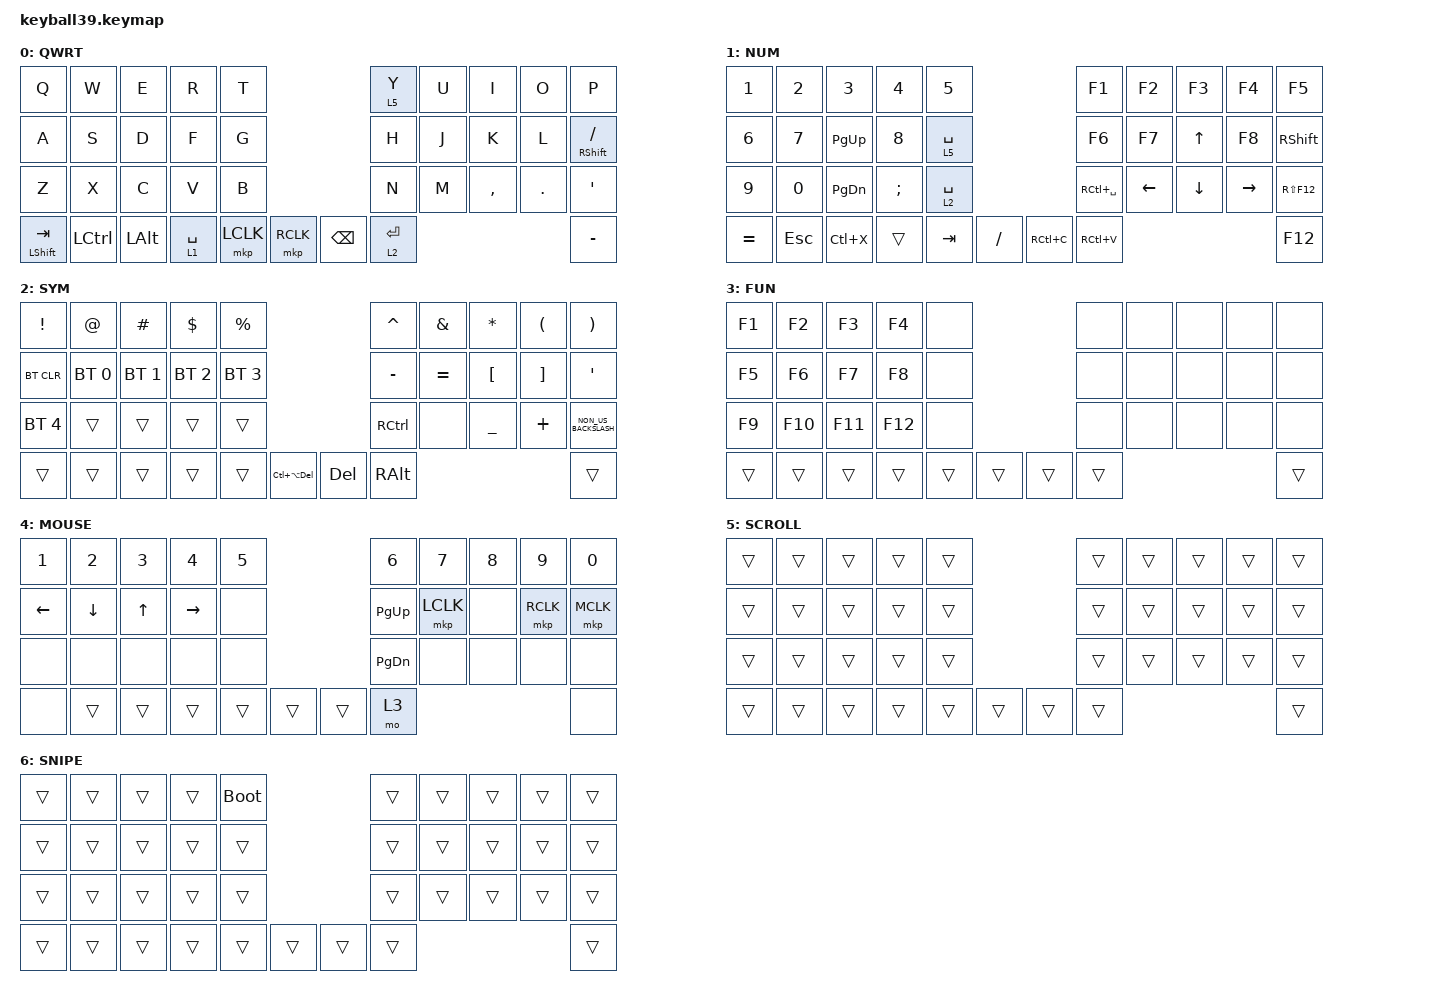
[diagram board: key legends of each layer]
#define DEFAULT 0
#define NUM     1
#define SYM     2
#define FUN     3
#define MOUSE   4
#define SCROLL  5
#define SNIPE   6

#include <behaviors/mouse_keys.dtsi>
#include <dt-bindings/zmk/mouse.h>
#include <behaviors.dtsi>
#include <dt-bindings/zmk/bt.h>
#include <dt-bindings/zmk/keys.h>
#include <dt-bindings/zmk/pointing.h>

&nice_view_spi { cs-gpios = <&pro_micro 1 GPIO_ACTIVE_HIGH>; };

&lt {
    tapping-term-ms = <240>;
    flavor = "balanced";
    quick-tap-ms = <150>;
};

&mt {
    tapping-term-ms = <200>;
    flavor = "tap-preferred";
    quick-tap-ms = <150>;
};

&caps_word { continue-list = <UNDERSCORE MINUS>; };

/ {
    // custom shift using mod-morph 

    behaviors {
        cmqus: comma_question {
            compatible = "zmk,behavior-mod-morph";
            label = "COMMA_QUESTION";
            #binding-cells = <0>;
            bindings = <&kp COMMA>, <&kp QUESTION>;

            mods = <(MOD_LSFT|MOD_RSFT)>;
        };

        dtsmi: dot_semi {
            compatible = "zmk,behavior-mod-morph";
            label = "DOT_SEMI";
            #binding-cells = <0>;
            bindings = <&kp DOT>, <&kp SEMI>;

            mods = <(MOD_LSFT|MOD_RSFT)>;
        };
    };

    macros {
        Hiragana: Hiragana {
            compatible = "zmk,behavior-macro";
            #binding-cells = <0>;
            bindings = <&kp LC(SPACE)>;
            label = "HIRAGANA";
        };
    };

    keymap {
        compatible = "zmk,keymap";

        default_layer {
            label = "QWRT";
            bindings = <
&kp Q               &kp W             &kp E     &kp R        &kp T                                &lt 5 Y       &kp U  &kp I      &kp O    &kp P
&kp A               &kp S             &kp D     &kp F        &kp G                                &kp H         &kp J  &kp K      &kp L    &mt RIGHT_SHIFT SLASH
&kp Z               &kp X             &kp C     &kp V        &kp B                                &kp N         &kp M  &kp COMMA  &kp DOT  &kp APOS
&mt LEFT_SHIFT TAB  &kp LEFT_CONTROL  &kp LALT  &lt 1 SPACE  &mkp LCLK  &mkp RCLK  &kp BACKSPACE  &lt 2 RETURN                             &kp MINUS
            >;
        };

        number_layer {
            label = "NUM";
            bindings = <
&kp NUMBER_1  &kp NUMBER_2  &kp NUMBER_3   &kp NUMBER_4  &kp NUMBER_5                        &kp F1         &kp F2          &kp F3          &kp F4           &kp F5
&kp NUMBER_6  &kp NUMBER_7  &kp PAGE_UP    &kp NUMBER_8  &lt 5 SPACE                         &kp F6         &kp F7          &kp UP_ARROW    &kp F8           &kp RIGHT_SHIFT
&kp NUMBER_9  &kp NUMBER_0  &kp PAGE_DOWN  &kp SEMI      &lt 2 SPACE                         &kp RC(SPACE)  &kp LEFT_ARROW  &kp DOWN_ARROW  &kp RIGHT_ARROW  &kp RS(F12)
&kp EQUAL     &kp ESCAPE    &kp LC(X)      &trans        &kp TAB       &kp SLASH  &kp RC(C)  &kp RC(V)                                                       &kp F12
            >;
        };

        symbol_layer {
            label = "SYM";
            bindings = <
&kp EXCLAMATION  &kp AT_SIGN   &kp HASH      &kp DOLLAR    &kp PERCENT                                &kp CARET          &kp AMPERSAND  &kp ASTERISK      &kp LEFT_PARENTHESIS  &kp RIGHT_PARENTHESIS
&bt BT_CLR       &bt BT_SEL 0  &bt BT_SEL 1  &bt BT_SEL 2  &bt BT_SEL 3                               &kp MINUS          &kp EQUAL      &kp LEFT_BRACKET  &kp RIGHT_BRACKET     &kp SQT
&bt BT_SEL 4     &trans        &trans        &trans        &trans                                     &kp RIGHT_CONTROL  &none          &kp UNDERSCORE    &kp PLUS              &kp NON_US_BACKSLASH
&trans           &trans        &trans        &trans        &trans        &kp LC(LA(DEL))  &kp DELETE  &kp RIGHT_ALT                                                             &trans
            >;
        };

        function_layer {
            label = "FUN";
            bindings = <
&kp F1  &kp F2   &kp F3   &kp F4   &none                   &none   &none  &none  &none  &none
&kp F5  &kp F6   &kp F7   &kp F8   &none                   &none   &none  &none  &none  &none
&kp F9  &kp F10  &kp F11  &kp F12  &none                   &none   &none  &none  &none  &none
&trans  &trans   &trans   &trans   &trans  &trans  &trans  &trans                       &trans
            >;
        };

        mouse_layer {
            label = "MOUSE";
            bindings = <
&kp N1          &kp N2          &kp N3        &kp N4     &kp N5                  &kp N6         &kp N7     &kp N8  &kp N9     &kp N0
&kp LEFT_ARROW  &kp DOWN_ARROW  &kp UP_ARROW  &kp RIGHT  &none                   &kp PAGE_UP    &mkp LCLK  &none   &mkp RCLK  &mkp MCLK
&none           &none           &none         &none      &none                   &kp PAGE_DOWN  &none      &none   &none      &none
&none           &trans          &trans        &trans     &trans  &trans  &trans  &mo 3                                        &none
            >;
        };

        scroll_layer {
            label = "SCROLL";
            bindings = <
&trans  &trans  &trans  &trans  &trans                  &trans  &trans  &trans  &trans  &trans
&trans  &trans  &trans  &trans  &trans                  &trans  &trans  &trans  &trans  &trans
&trans  &trans  &trans  &trans  &trans                  &trans  &trans  &trans  &trans  &trans
&trans  &trans  &trans  &trans  &trans  &trans  &trans  &trans                          &trans
            >;
        };

        snipe_layer {
            label = "SNIPE";
            bindings = <
&trans  &trans  &trans  &trans  &bootloader                  &trans  &trans  &trans  &trans  &trans
&trans  &trans  &trans  &trans  &trans                       &trans  &trans  &trans  &trans  &trans
&trans  &trans  &trans  &trans  &trans                       &trans  &trans  &trans  &trans  &trans
&trans  &trans  &trans  &trans  &trans       &trans  &trans  &trans                          &trans
            >;
        };
    };
};
